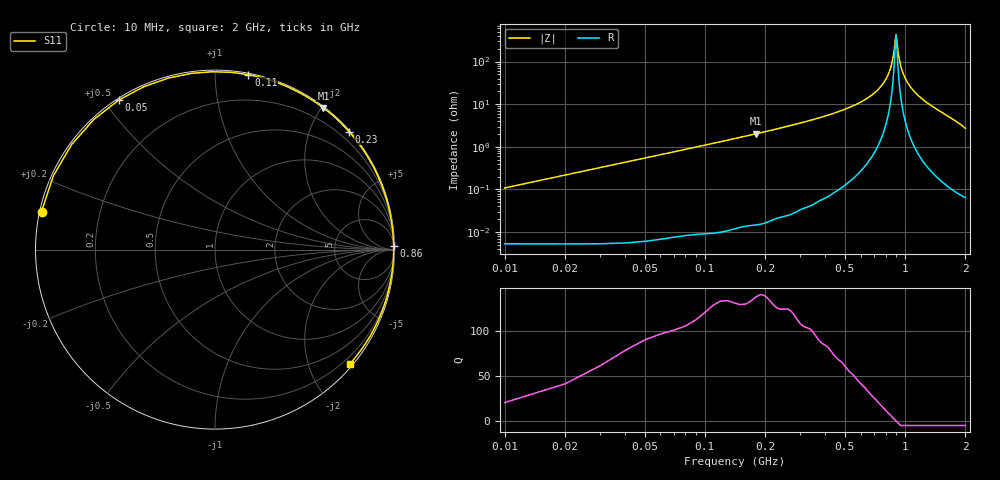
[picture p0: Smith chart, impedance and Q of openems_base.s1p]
! H_s8_cap_10: PDN loop: BGA pin field to a 0402 capacitor 10 mm away
! stackup: 8-layer 1.6 mm FR-4 (generic)
! ports: 1 IC pins
! openEMS 0.37.0, staircase, base mesh (dfine 0.07 mm), 600750 cells
# Hz S RI R 1
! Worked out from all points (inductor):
!   200 points, 10 MHz to 2 GHz, reference 1 ohm
!   read as one part to ground: L = 1.73 nH near 20 MHz
!   highest Q = 137 at 180 MHz (marker M1), where L = 1.79 nH
!   self-resonance near 900 MHz
!   S11 on the Smith chart (normalised r, x): 10 MHz: 0.01, +0.11; 50 MHz: 0.01, +0.54; 110 MHz: 0.01, +1.21; 230 MHz: 0.02, +2.65; 860 MHz: 20, +92; 2 GHz: 0.06, -2.73
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1e7  -0.9665 0.2121
2e7  -0.9009 0.4105
3e7  -0.8001 0.5837
4e7  -0.6752 0.725
5e7  -0.5373 0.8323
6e7  -0.3966 0.9077
7e7  -0.26 0.9557
8e7  -0.1321 0.9818
9e7  -0.0149 0.991
1.1e8  0.1862 0.9747
1.4e8  0.4106 0.9042
1.6e8  0.519 0.8471
1.8e8  0.6041 0.7897
2e8  0.6714 0.7339
2.3e8  0.7469 0.657
2.6e8  0.8021 0.5892
3.1e8  0.8645 0.4932
3.6e8  0.9049 0.4151
5.1e8  0.9644 0.248
6.2e8  0.9825 0.1618
7.6e8  0.9928 0.0743
8.6e8  0.9953 0.0205
1.01e9  0.9938 -0.0528
1.26e9  0.9799 -0.169
1.51e9  0.9487 -0.2931
1.76e9  0.8855 -0.4435
1.89e9  0.8273 -0.54
2e9  0.7527 -0.6353
